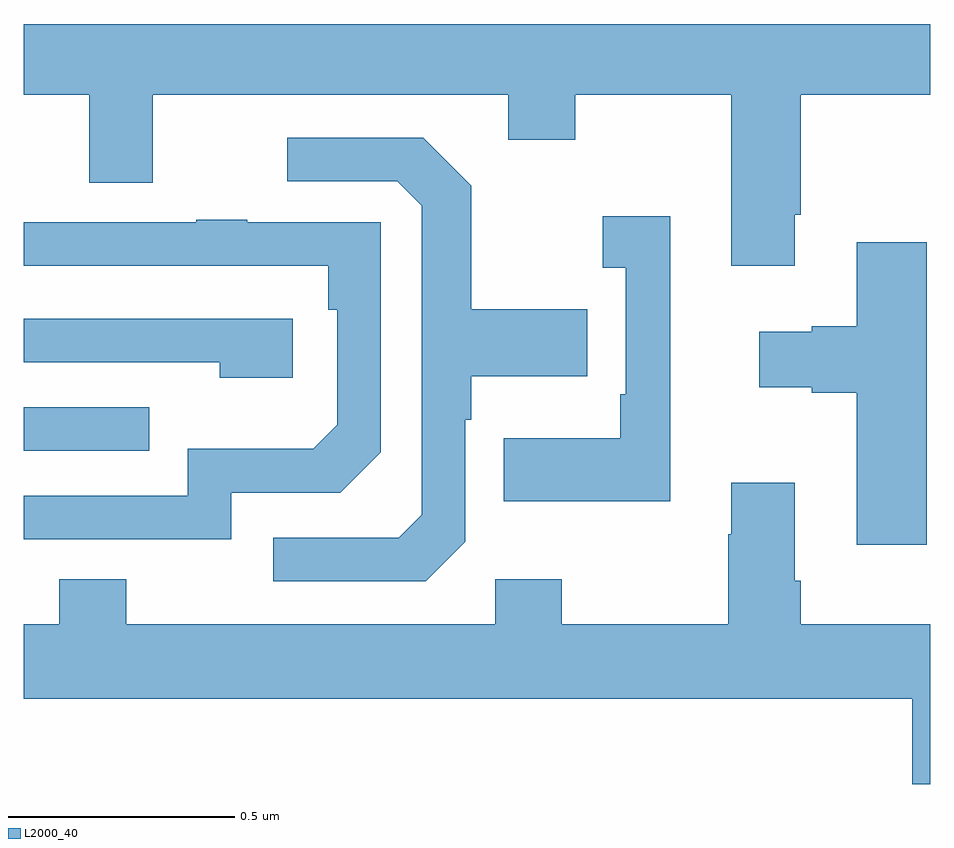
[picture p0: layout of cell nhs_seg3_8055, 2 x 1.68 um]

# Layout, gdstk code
import gdstk
lib = gdstk.Library(unit=1e-6, precision=1e-09)
def R(c, l, rs):  # rectangles x0, y0, x1, y1
    for r in rs: c.add(gdstk.rectangle(r[:2], r[2:], *l))
def P(c, l, *ps):  # polygons
    for p in ps: c.add(gdstk.Polygon(p, *l))
L2000_40 = (2000, 40)

nhs_seg3_8055 = lib.new_cell('nhs_seg3_8055')
R(nhs_seg3_8055, L2000_40, [(211,705.459,211.277,705.555)])
P(nhs_seg3_8055, L2000_40, [(212.701,705.979),(212.714,705.979),(212.714,706.244),(213,706.244),(213,706.4),(211,706.4),(211,706.244),(211.145,706.244),(211.145,706.05),(211.285,706.05),(211.285,706.244),(212.069,706.244),(212.069,706.145),(212.217,706.145),(212.217,706.244),(212.561,706.244),(212.561,705.867),(212.701,705.867)],
  [(211.974,705.258),(211.974,705.527),(211.987,705.527),(211.987,705.623),(212.243,705.623),(212.243,705.771),(211.987,705.771),(211.987,706.043),(211.881,706.149),(211.581,706.149),(211.581,706.053),(211.824,706.053),(211.878,705.999),(211.878,705.318),(211.827,705.267),(211.551,705.267),(211.551,705.171),(211.887,705.171)],
  [(212.426,705.976),(212.277,705.976),(212.277,705.863),(212.328,705.863),(212.328,705.583),(212.316,705.583),(212.316,705.487),(212.059,705.487),(212.059,705.347),(212.426,705.347)],
  [(211.458,705.366),(211.698,705.366),(211.788,705.456),(211.788,705.963),(211.493,705.963),(211.493,705.968),(211.381,705.968),(211.381,705.963),(211,705.963),(211,705.867),(211.672,705.867),(211.672,705.77),(211.692,705.77),(211.692,705.516),(211.639,705.463),(211.362,705.463),(211.362,705.36),(211,705.36),(211,705.264),(211.458,705.264)],
  [(212.992,705.919),(212.837,705.919),(212.837,705.734),(212.738,705.734),(212.738,705.721),(212.622,705.721),(212.622,705.599),(212.738,705.599),(212.738,705.587),(212.837,705.587),(212.837,705.252),(212.992,705.252)],
  [(211.594,705.75),(211,705.75),(211,705.654),(211.433,705.654),(211.433,705.62),(211.594,705.62)],
  [(213,705.076),(212.714,705.076),(212.714,705.172),(212.701,705.172),(212.701,705.388),(212.561,705.388),(212.561,705.275),(212.554,705.275),(212.554,705.076),(212.187,705.076),(212.187,705.175),(212.04,705.175),(212.04,705.076),(211.227,705.076),(211.227,705.175),(211.079,705.175),(211.079,705.076),(211,705.076),(211,704.912),(212.96,704.912),(212.96,704.724),(213,704.724)])

lib.write_gds('nhs_seg3_8055.gds')
